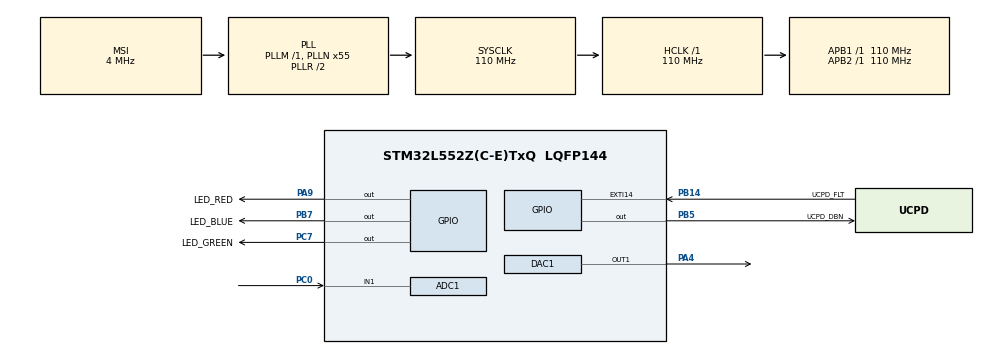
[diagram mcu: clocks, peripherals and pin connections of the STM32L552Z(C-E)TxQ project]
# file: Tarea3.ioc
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ADC1.Channel-0\#ChannelRegularConversion=ADC_CHANNEL_1
ADC1.ClockPrescaler=ADC_CLOCK_SYNC_PCLK_DIV4
ADC1.DMAContinuousRequests=ENABLE
ADC1.ExternalTrigConv=ADC_EXTERNALTRIG_T2_TRGO
ADC1.NbrOfConversion=1
ADC1.NbrOfConversionFlag=1
ADC1.OffsetNumber-0\#ChannelRegularConversion=ADC_OFFSET_NONE
ADC1.Rank-0\#ChannelRegularConversion=1
ADC1.SamplingTime-0\#ChannelRegularConversion=ADC_SAMPLETIME_2CYCLES_5
ADC1.master=1
DAC1.DAC_HighFrequency-DAC_OUT1=DAC_HIGH_FREQUENCY_INTERFACE_MODE_DISABLE
DAC1.DAC_Trigger-DAC_OUT1=DAC_TRIGGER_T6_TRGO
Dma.ADC1.0.Channel_PRIV_NPRIV=DMA_CHANNEL_NPRIV_DISABLE
Dma.ADC1.0.Direction=DMA_PERIPH_TO_MEMORY
Dma.ADC1.0.EventEnable=DISABLE
Dma.ADC1.0.Instance=DMA1_Channel1
Dma.ADC1.0.MemDataAlignment=DMA_MDATAALIGN_HALFWORD
Dma.ADC1.0.MemInc=DMA_MINC_ENABLE
Dma.ADC1.0.Mode=DMA_NORMAL
Dma.ADC1.0.PeriphDataAlignment=DMA_PDATAALIGN_HALFWORD
Dma.ADC1.0.PeriphInc=DMA_PINC_DISABLE
Dma.ADC1.0.Polarity=HAL_DMAMUX_REQ_GEN_RISING
Dma.ADC1.0.Priority=DMA_PRIORITY_HIGH
Dma.ADC1.0.RequestNumber=1
Dma.ADC1.0.SignalID=NONE
Dma.ADC1.0.SyncEnable=DISABLE
Dma.ADC1.0.SyncPolarity=HAL_DMAMUX_SYNC_NO_EVENT
Dma.ADC1.0.SyncRequestNumber=1
Dma.ADC1.0.SyncSignalID=NONE
Dma.DAC1_CH1.1.Channel_PRIV_NPRIV=DMA_CHANNEL_NPRIV_DISABLE
Dma.DAC1_CH1.1.Direction=DMA_MEMORY_TO_PERIPH
Dma.DAC1_CH1.1.EventEnable=DISABLE
Dma.DAC1_CH1.1.Instance=DMA1_Channel2
Dma.DAC1_CH1.1.MemDataAlignment=DMA_MDATAALIGN_HALFWORD
Dma.DAC1_CH1.1.MemInc=DMA_MINC_ENABLE
Dma.DAC1_CH1.1.Mode=DMA_CIRCULAR
Dma.DAC1_CH1.1.PeriphDataAlignment=DMA_PDATAALIGN_HALFWORD
Dma.DAC1_CH1.1.PeriphInc=DMA_PINC_DISABLE
Dma.DAC1_CH1.1.Polarity=HAL_DMAMUX_REQ_GEN_RISING
Dma.DAC1_CH1.1.Priority=DMA_PRIORITY_HIGH
Dma.DAC1_CH1.1.RequestNumber=1
Dma.DAC1_CH1.1.SignalID=NONE
Dma.DAC1_CH1.1.SyncEnable=DISABLE
Dma.DAC1_CH1.1.SyncPolarity=HAL_DMAMUX_SYNC_NO_EVENT
Dma.DAC1_CH1.1.SyncRequestNumber=1
Dma.DAC1_CH1.1.SyncSignalID=NONE
Dma.Request0=ADC1
Dma.Request1=DAC1_CH1
Mcu.Family=STM32L5
Mcu.Name=STM32L552Z(C-E)TxQ
Mcu.Package=LQFP144
Mcu.TrustZone=disable
NVIC.ADC1_2_IRQn=true\:0\:0\:false\:false\:true\:true\:true\:true
NVIC.DAC_IRQn=true\:0\:0\:false\:false\:true\:true\:true\:true
NVIC.DMA1_Channel1_IRQn=true\:0\:0\:false\:false\:true\:false\:true\:true
NVIC.DMA1_Channel2_IRQn=true\:0\:0\:false\:false\:true\:false\:true\:true
NVIC.PriorityGroup=NVIC_PRIORITYGROUP_3
NVIC.TIM2_IRQn=true\:0\:0\:false\:false\:true\:true\:true\:true
NVIC.TIM6_IRQn=true\:0\:0\:false\:false\:true\:true\:true\:true
PA11.Signal=USB_DM
PA13\ (JTMS/SWDIO).Signal=DEBUG_JTMS-SWDIO
PA14\ (JTCK/SWCLK).Signal=DEBUG_JTCK-SWCLK
PA15\ (JTDI).Signal=UCPD1_CC1
PA4.Signal=COMP_DAC11_group
PA9.GPIO_Label=LED_RED
PA9.Signal=GPIO_Output
PB14.GPIO_Label=UCPD_FLT
PB14.Signal=GPXTI14
PB15.Signal=UCPD1_CC2
PB3\ (JTDO/TRACESWO).Signal=DEBUG_JTDO-SWO
PB5.GPIO_Label=UCPD_DBN
PB5.Signal=GPIO_Output
PB7.GPIO_Label=LED_BLUE
PB7.Signal=GPIO_Output
PC0.Signal=ADCx_IN1
PC13.GPIO_Label=USER_BUTTON
PC13.Signal=PWR_WKUP2
PC14-OSC32_IN\ (PC14).Signal=RCC_OSC32_IN
PC15-OSC32_OUT\ (PC15).Signal=RCC_OSC32_OUT
PC2.GPIO_Label=VBUS_SENSE
PC2.Signal=ADCx_IN3
PC7.GPIO_Label=LED_GREEN
PC7.Signal=GPIO_Output
PG7.GPIO_Label=LPUART1_TX [ST-LINK_VCP_RX]
PG7.Signal=LPUART1_TX
PG8.GPIO_Label=LPUART1_RX [ST-LINK_VCP_TX]
PG8.Signal=LPUART1_RX
ProjectManager.HeapSize=0x200
ProjectManager.StackSize=0x400
ProjectManager.TargetToolchain=STM32CubeIDE
RCC.ADCCLockSelection=RCC_ADCCLKSOURCE_SYSCLK
RCC.ADCFreq_Value=110000000
RCC.AHBFreq_Value=110000000
RCC.APB1Freq_Value=110000000
RCC.APB1TimFreq_Value=110000000
RCC.APB2Freq_Value=110000000
RCC.APB2TimFreq_Value=110000000
RCC.CK48CLockSelection=RCC_USBCLKSOURCE_HSI48
RCC.CortexFreq_Value=110000000
RCC.HCLKFreq_Value=110000000
RCC.HSE_VALUE=8000000
RCC.HSI48_VALUE=48000000
RCC.HSI_VALUE=16000000
RCC.LSE_VALUE=32768
RCC.MSI_VALUE=4000000
RCC.PLLN=55
RCC.PLLSAI1N=24
RCC.RTCClockSelection=RCC_RTCCLKSOURCE_LSE
RCC.SYSCLKFreq_VALUE=110000000
RCC.SYSCLKSource=RCC_SYSCLKSOURCE_PLLCLK
RCC.USBFreq_Value=48000000
RCC.VCOOutputFreq_Value=220000000
SH.ADCx_IN1.0=ADC1_IN1,IN1-Single-Ended
SH.ADCx_IN3.0=ADC1_IN3
SH.COMP_DAC11_group.0=DAC1_OUT1,DAC_OUT1
TIM2.Period=19
TIM2.Prescaler=109
TIM2.TIM_MasterOutputTrigger=TIM_TRGO_UPDATE
TIM6.Period=19
TIM6.Prescaler=109
TIM6.TIM_MasterOutputTrigger=TIM_TRGO_UPDATE
VP_ICACHE_VS_ICACHE.Mode=DirectMappedCache
VP_PWR_VS_DBSignals.Mode=DisableDeadBatterySignals
VP_PWR_VS_SECSignals.Mode=Security/Privilege
VP_TIM2_VS_ClockSourceINT.Mode=Internal
VP_TIM6_VS_ClockSourceINT.Mode=Enable_Timer
board=NUCLEO-L552ZE-Q

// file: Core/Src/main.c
/* USER CODE BEGIN Header */
/**
  ******************************************************************************
  * @file           : main.c
  * @brief          : Main program body
  ******************************************************************************
  * @attention
  *
  * Copyright (c) 2024 STMicroelectronics.
  * All rights reserved.
  *
  * This software is licensed under terms that can be found in the LICENSE file
  * in the root directory of this software component.
  * If no LICENSE file comes with this software, it is provided AS-IS.
  *
  ******************************************************************************
  */
/* USER CODE END Header */
#include "main.h"

ADC_HandleTypeDef hadc1;
DMA_HandleTypeDef hdma_adc1;

DAC_HandleTypeDef hdac1;
DMA_HandleTypeDef hdma_dac1_ch1;

TIM_HandleTypeDef htim2;
TIM_HandleTypeDef htim6;

/* USER CODE BEGIN PV */
#define ADC_CONVERTED_DATA_BUFFER_SIZE 500 //Tamaño del buffer para el ADC
#define DIGITAL_SCALE_12BITS ((uint32_t) 0xFFF) //Para el DAC valor máximo
#define DAC_CONVERTED_DATA_BUFFER_SIZE 128 //Tamaño del buffer para el DAC
#define PI 3.14159265358979323846 //Numero PI para la senoidal
/* USER CODE END PV */

void SystemClock_Config(void);
static void MX_GPIO_Init(void);
static void MX_DMA_Init(void);
static void MX_ADC1_Init(void);
static void MX_ICACHE_Init(void);
static void MX_TIM2_Init(void);
static void MX_DAC1_Init(void);
static void MX_TIM6_Init(void);

/* USER CODE BEGIN 0 */
uint16_t aADCxConvertedData[ADC_CONVERTED_DATA_BUFFER_SIZE]; //Buffer del adc
int alternar = 0;

uint16_t Wave_LUT[DAC_CONVERTED_DATA_BUFFER_SIZE] = { //Este es un buffer de prueba para el DAC
    2048, 2149, 2250, 2350, 2450, 2549, 2646, 2742, 2837, 2929, 3020, 3108, 3193, 3275, 3355,
    3431, 3504, 3574, 3639, 3701, 3759, 3812, 3861, 3906, 3946, 3982, 4013, 4039, 4060, 4076,
    4087, 4094, 4095, 4091, 4082, 4069, 4050, 4026, 3998, 3965, 3927, 3884, 3837, 3786, 3730,
    3671, 3607, 3539, 3468, 3394, 3316, 3235, 3151, 3064, 2975, 2883, 2790, 2695, 2598, 2500,
    2400, 2300, 2199, 2098, 1997, 1896, 1795, 1695, 1595, 1497, 1400, 1305, 1212, 1120, 1031,
    944, 860, 779, 701, 627, 556, 488, 424, 365, 309, 258, 211, 168, 130, 97,
    69, 45, 26, 13, 4, 0, 1, 8, 19, 35, 56, 82, 113, 149, 189,
    234, 283, 336, 394, 456, 521, 591, 664, 740, 820, 902, 987, 1075, 1166, 1258,
    1353, 1449, 1546, 1645, 1745, 1845, 1946, 2047
};

uint16_t LUT[50]; //LookUp Table de 50 muestras para la señal de 1kHz, como timer a 50kHz para 1kHz necesita 50 muestras. Señal senoidal
uint16_t LUTC[5]; //LookUp Table de 5 muestras para la señal de 10 kHz, como timer a 50kHz para 10kHz necesita 5 muestras. Señal cuadrada
uint16_t LUT10[5]; //LookUp Table de 5 muestras para la señal de 10 kHz, como timer a 50kHz para 10kHz necesita 5 muestras. Señal senoidal

void Alternar_DAC(void); //funcion de prueba para ver como funciona el DAC
void Crear_LUTC(void); //funcion que crea la LookUp Table de la señal cuadrada
void Crear_LUT(void); //funcion que crea la LookUp Table de la señal senoidal de 1kHz
/* USER CODE END 0 */

int main(void)
{

  /* MCU Configuration--------------------------------------------------------*/

  /* Reset of all peripherals, Initializes the Flash interface and the Systick. */
  HAL_Init();

  /* Configure the system clock */
  SystemClock_Config();

  /* Initialize all configured peripherals */
  MX_GPIO_Init();
  MX_DMA_Init();
  MX_ADC1_Init();
  MX_ICACHE_Init();
  MX_TIM2_Init();
  MX_DAC1_Init();
  MX_TIM6_Init();
  /* USER CODE BEGIN 2 */
  //Alternar_DAC();
  //Crear_LUTC(); //Descomentar esta linea para usar la señal cuadrada
  Crear_LUT(); //Descomentar esta linea para usar la señal senoidal
  int j = 0;

  for(int i = 0; i < 50; i = i + 10) //Descomentar este for para crear la LUT10 para la señal senoidal de 10kHz
  {

	  LUT10[j] = LUT[i]; //Toma 5 muestras de las 50 que teniamos en la LUT de 1 kHz
	  j++;
  }

  if (HAL_TIM_Base_Start(&htim6) != HAL_OK) //Inicialización del timer6 para el DAC, configurado para que active el DAC en el flanco de bajada y a 50 kHz
     {
       /* Counter enable error */
       Error_Handler();
     }

  if (HAL_TIM_Base_Start(&htim2) != HAL_OK) //Inicializacion del timer2 para el ADC, configurado para que active el ADC en el flanco de bajada y a 50kHz
  {
    /* Counter enable error */
    Error_Handler();
  }

  if (HAL_DAC_Start_DMA(&hdac1, DAC_CHANNEL_1, (uint32_t *)LUT10, 5, DAC_ALIGN_12B_R) != HAL_OK) //Activo el DAC con DMA para el buffer correpondiente (ahora LUT10 para la señal senoidal de 10kHz, cambiar para probar otras tablas seleccionando el correcto tamaño de buffer, usar LUTC para la señal cuadrada o LUT para la senoidal de 1kHz y cambiar el tamaño de 5 a 50)
   	     {
   	       /* Start Error */
   	       Error_Handler();
   	     }

  if (HAL_ADC_Start_DMA(&hadc1, //Activo el ADC que metera los datos convertidos en el buffer correspondiente.
                          (uint32_t *)aADCxConvertedData,
                          ADC_CONVERTED_DATA_BUFFER_SIZE
                         ) != HAL_OK)
    {
      /* ADC conversion start error */
      Error_Handler();
    }

    /* Enable DAC Channel: channel corresponding to ADC channel ADC_CHANNEL_9 */

  /* USER CODE END 2 */

  /* Infinite loop */
  while (1)
  {

    /* USER CODE BEGIN 3 */

	  HAL_Delay(1000);

  }
  /* USER CODE END 3 */
}

void SystemClock_Config(void)
{
  RCC_OscInitTypeDef RCC_OscInitStruct = {0};
  RCC_ClkInitTypeDef RCC_ClkInitStruct = {0};

  /** Configure the main internal regulator output voltage
  */
  if (HAL_PWREx_ControlVoltageScaling(PWR_REGULATOR_VOLTAGE_SCALE0) != HAL_OK)
  {
    Error_Handler();
  }

  /** Initializes the RCC Oscillators according to the specified parameters
  * in the RCC_OscInitTypeDef structure.
  */
  RCC_OscInitStruct.OscillatorType = RCC_OSCILLATORTYPE_MSI;
  RCC_OscInitStruct.MSIState = RCC_MSI_ON;
  RCC_OscInitStruct.MSICalibrationValue = RCC_MSICALIBRATION_DEFAULT;
  RCC_OscInitStruct.MSIClockRange = RCC_MSIRANGE_6;
  RCC_OscInitStruct.PLL.PLLState = RCC_PLL_ON;
  RCC_OscInitStruct.PLL.PLLSource = RCC_PLLSOURCE_MSI;
  RCC_OscInitStruct.PLL.PLLM = 1;
  RCC_OscInitStruct.PLL.PLLN = 55;
  RCC_OscInitStruct.PLL.PLLP = RCC_PLLP_DIV7;
  RCC_OscInitStruct.PLL.PLLQ = RCC_PLLQ_DIV2;
  RCC_OscInitStruct.PLL.PLLR = RCC_PLLR_DIV2;
  if (HAL_RCC_OscConfig(&RCC_OscInitStruct) != HAL_OK)
  {
    Error_Handler();
  }

  /** Initializes the CPU, AHB and APB buses clocks
  */
  RCC_ClkInitStruct.ClockType = RCC_CLOCKTYPE_HCLK|RCC_CLOCKTYPE_SYSCLK
                              |RCC_CLOCKTYPE_PCLK1|RCC_CLOCKTYPE_PCLK2;
  RCC_ClkInitStruct.SYSCLKSource = RCC_SYSCLKSOURCE_PLLCLK;
  RCC_ClkInitStruct.AHBCLKDivider = RCC_SYSCLK_DIV1;
  RCC_ClkInitStruct.APB1CLKDivider = RCC_HCLK_DIV1;
  RCC_ClkInitStruct.APB2CLKDivider = RCC_HCLK_DIV1;

  if (HAL_RCC_ClockConfig(&RCC_ClkInitStruct, FLASH_LATENCY_5) != HAL_OK)
  {
    Error_Handler();
  }
}

static void MX_ADC1_Init(void)
{

  ADC_MultiModeTypeDef multimode = {0};
  ADC_ChannelConfTypeDef sConfig = {0};

  /** Common config
  */
  hadc1.Instance = ADC1;
  hadc1.Init.ClockPrescaler = ADC_CLOCK_SYNC_PCLK_DIV4;
  hadc1.Init.Resolution = ADC_RESOLUTION_12B;
  hadc1.Init.DataAlign = ADC_DATAALIGN_RIGHT;
  hadc1.Init.ScanConvMode = ADC_SCAN_DISABLE;
  hadc1.Init.EOCSelection = ADC_EOC_SINGLE_CONV;
  hadc1.Init.LowPowerAutoWait = DISABLE;
  hadc1.Init.ContinuousConvMode = DISABLE;
  hadc1.Init.NbrOfConversion = 1;
  hadc1.Init.DiscontinuousConvMode = DISABLE;
  hadc1.Init.ExternalTrigConv = ADC_EXTERNALTRIG_T2_TRGO;
  hadc1.Init.ExternalTrigConvEdge = ADC_EXTERNALTRIGCONVEDGE_RISING;
  hadc1.Init.DMAContinuousRequests = ENABLE;
  hadc1.Init.Overrun = ADC_OVR_DATA_PRESERVED;
  hadc1.Init.OversamplingMode = DISABLE;
  if (HAL_ADC_Init(&hadc1) != HAL_OK)
  {
    Error_Handler();
  }

  /** Configure the ADC multi-mode
  */
  multimode.Mode = ADC_MODE_INDEPENDENT;
  if (HAL_ADCEx_MultiModeConfigChannel(&hadc1, &multimode) != HAL_OK)
  {
    Error_Handler();
  }

  /** Configure Regular Channel
  */
  sConfig.Channel = ADC_CHANNEL_1;
  sConfig.Rank = ADC_REGULAR_RANK_1;
  sConfig.SamplingTime = ADC_SAMPLETIME_2CYCLES_5;
  sConfig.SingleDiff = ADC_SINGLE_ENDED;
  sConfig.OffsetNumber = ADC_OFFSET_NONE;
  sConfig.Offset = 0;
  if (HAL_ADC_ConfigChannel(&hadc1, &sConfig) != HAL_OK)
  {
    Error_Handler();
  }

}

static void MX_DAC1_Init(void)
{

  DAC_ChannelConfTypeDef sConfig = {0};

  /** DAC Initialization
  */
  hdac1.Instance = DAC1;
  if (HAL_DAC_Init(&hdac1) != HAL_OK)
  {
    Error_Handler();
  }

  /** DAC channel OUT1 config
  */
  sConfig.DAC_SampleAndHold = DAC_SAMPLEANDHOLD_DISABLE;
  sConfig.DAC_Trigger = DAC_TRIGGER_T6_TRGO;
  sConfig.DAC_HighFrequency = DAC_HIGH_FREQUENCY_INTERFACE_MODE_DISABLE;
  sConfig.DAC_OutputBuffer = DAC_OUTPUTBUFFER_ENABLE;
  sConfig.DAC_ConnectOnChipPeripheral = DAC_CHIPCONNECT_DISABLE;
  sConfig.DAC_UserTrimming = DAC_TRIMMING_FACTORY;
  if (HAL_DAC_ConfigChannel(&hdac1, &sConfig, DAC_CHANNEL_1) != HAL_OK)
  {
    Error_Handler();
  }

}

static void MX_ICACHE_Init(void)
{

  /** Enable instruction cache in 1-way (direct mapped cache)
  */
  if (HAL_ICACHE_ConfigAssociativityMode(ICACHE_1WAY) != HAL_OK)
  {
    Error_Handler();
  }
  if (HAL_ICACHE_Enable() != HAL_OK)
  {
    Error_Handler();
  }

}

static void MX_TIM2_Init(void)
{

  TIM_ClockConfigTypeDef sClockSourceConfig = {0};
  TIM_MasterConfigTypeDef sMasterConfig = {0};

  htim2.Instance = TIM2;
  htim2.Init.Prescaler = 109;
  htim2.Init.CounterMode = TIM_COUNTERMODE_UP;
  htim2.Init.Period = 19;
  htim2.Init.ClockDivision = TIM_CLOCKDIVISION_DIV1;
  htim2.Init.AutoReloadPreload = TIM_AUTORELOAD_PRELOAD_DISABLE;
  if (HAL_TIM_Base_Init(&htim2) != HAL_OK)
  {
    Error_Handler();
  }
  sClockSourceConfig.ClockSource = TIM_CLOCKSOURCE_INTERNAL;
  if (HAL_TIM_ConfigClockSource(&htim2, &sClockSourceConfig) != HAL_OK)
  {
    Error_Handler();
  }
  sMasterConfig.MasterOutputTrigger = TIM_TRGO_UPDATE;
  sMasterConfig.MasterSlaveMode = TIM_MASTERSLAVEMODE_DISABLE;
  if (HAL_TIMEx_MasterConfigSynchronization(&htim2, &sMasterConfig) != HAL_OK)
  {
    Error_Handler();
  }

}

static void MX_TIM6_Init(void)
{

  TIM_MasterConfigTypeDef sMasterConfig = {0};

  htim6.Instance = TIM6;
  htim6.Init.Prescaler = 109;
  htim6.Init.CounterMode = TIM_COUNTERMODE_UP;
  htim6.Init.Period = 19;
  htim6.Init.AutoReloadPreload = TIM_AUTORELOAD_PRELOAD_DISABLE;
  if (HAL_TIM_Base_Init(&htim6) != HAL_OK)
  {
    Error_Handler();
  }
  sMasterConfig.MasterOutputTrigger = TIM_TRGO_UPDATE;
  sMasterConfig.MasterSlaveMode = TIM_MASTERSLAVEMODE_DISABLE;
  if (HAL_TIMEx_MasterConfigSynchronization(&htim6, &sMasterConfig) != HAL_OK)
  {
    Error_Handler();
  }

}

static void MX_DMA_Init(void)
{

  /* DMA controller clock enable */
  __HAL_RCC_DMAMUX1_CLK_ENABLE();
  __HAL_RCC_DMA1_CLK_ENABLE();

  /* DMA interrupt init */
  /* DMA1_Channel1_IRQn interrupt configuration */
  HAL_NVIC_SetPriority(DMA1_Channel1_IRQn, 0, 0);
  HAL_NVIC_EnableIRQ(DMA1_Channel1_IRQn);
  /* DMA1_Channel2_IRQn interrupt configuration */
  HAL_NVIC_SetPriority(DMA1_Channel2_IRQn, 0, 0);
  HAL_NVIC_EnableIRQ(DMA1_Channel2_IRQn);

}

static void MX_GPIO_Init(void)
{
  GPIO_InitTypeDef GPIO_InitStruct = {0};

  /* GPIO Ports Clock Enable */
  __HAL_RCC_GPIOC_CLK_ENABLE();
  __HAL_RCC_GPIOA_CLK_ENABLE();
  __HAL_RCC_GPIOB_CLK_ENABLE();
  __HAL_RCC_GPIOG_CLK_ENABLE();
  HAL_PWREx_EnableVddIO2();

  /*Configure GPIO pin Output Level */
  HAL_GPIO_WritePin(LED_GREEN_GPIO_Port, LED_GREEN_Pin, GPIO_PIN_RESET);

  /*Configure GPIO pin Output Level */
  HAL_GPIO_WritePin(LED_RED_GPIO_Port, LED_RED_Pin, GPIO_PIN_RESET);

  /*Configure GPIO pin Output Level */
  HAL_GPIO_WritePin(GPIOB, UCPD_DBN_Pin|LED_BLUE_Pin, GPIO_PIN_RESET);

  /*Configure GPIO pin : UCPD_FLT_Pin */
  GPIO_InitStruct.Pin = UCPD_FLT_Pin;
  GPIO_InitStruct.Mode = GPIO_MODE_IT_RISING;
  GPIO_InitStruct.Pull = GPIO_NOPULL;
  HAL_GPIO_Init(UCPD_FLT_GPIO_Port, &GPIO_InitStruct);

  /*Configure GPIO pin : PB15 */
  GPIO_InitStruct.Pin = GPIO_PIN_15;
  GPIO_InitStruct.Mode = GPIO_MODE_ANALOG;
  GPIO_InitStruct.Pull = GPIO_NOPULL;
  HAL_GPIO_Init(GPIOB, &GPIO_InitStruct);

  /*Configure GPIO pins : LPUART1_TX_Pin LPUART1_RX_Pin */
  GPIO_InitStruct.Pin = LPUART1_TX_Pin|LPUART1_RX_Pin;
  GPIO_InitStruct.Mode = GPIO_MODE_AF_PP;
  GPIO_InitStruct.Pull = GPIO_NOPULL;
  GPIO_InitStruct.Speed = GPIO_SPEED_FREQ_LOW;
  GPIO_InitStruct.Alternate = GPIO_AF8_LPUART1;
  HAL_GPIO_Init(GPIOG, &GPIO_InitStruct);

  /*Configure GPIO pin : LED_GREEN_Pin */
  GPIO_InitStruct.Pin = LED_GREEN_Pin;
  GPIO_InitStruct.Mode = GPIO_MODE_OUTPUT_PP;
  GPIO_InitStruct.Pull = GPIO_NOPULL;
  GPIO_InitStruct.Speed = GPIO_SPEED_FREQ_LOW;
  HAL_GPIO_Init(LED_GREEN_GPIO_Port, &GPIO_InitStruct);

  /*Configure GPIO pin : LED_RED_Pin */
  GPIO_InitStruct.Pin = LED_RED_Pin;
  GPIO_InitStruct.Mode = GPIO_MODE_OUTPUT_PP;
  GPIO_InitStruct.Pull = GPIO_NOPULL;
  GPIO_InitStruct.Speed = GPIO_SPEED_FREQ_LOW;
  HAL_GPIO_Init(LED_RED_GPIO_Port, &GPIO_InitStruct);

  /*Configure GPIO pin : PA11 */
  GPIO_InitStruct.Pin = GPIO_PIN_11;
  GPIO_InitStruct.Mode = GPIO_MODE_AF_PP;
  GPIO_InitStruct.Pull = GPIO_NOPULL;
  GPIO_InitStruct.Speed = GPIO_SPEED_FREQ_LOW;
  GPIO_InitStruct.Alternate = GPIO_AF10_USB;
  HAL_GPIO_Init(GPIOA, &GPIO_InitStruct);

  /*Configure GPIO pin : PA15 */
  GPIO_InitStruct.Pin = GPIO_PIN_15;
  GPIO_InitStruct.Mode = GPIO_MODE_ANALOG;
  GPIO_InitStruct.Pull = GPIO_NOPULL;
  HAL_GPIO_Init(GPIOA, &GPIO_InitStruct);

  /*Configure GPIO pins : UCPD_DBN_Pin LED_BLUE_Pin */
  GPIO_InitStruct.Pin = UCPD_DBN_Pin|LED_BLUE_Pin;
  GPIO_InitStruct.Mode = GPIO_MODE_OUTPUT_PP;
  GPIO_InitStruct.Pull = GPIO_NOPULL;
  GPIO_InitStruct.Speed = GPIO_SPEED_FREQ_LOW;
  HAL_GPIO_Init(GPIOB, &GPIO_InitStruct);

}

/* USER CODE BEGIN 4 */
void Alternar_DAC(void)
{
	for(int i = 0; i < 128; i++){
		Wave_LUT[i] = DIGITAL_SCALE_12BITS; //Pongo todo el Wave_LUT al maximo que soporta el DAC para probar que toma el máximo valor
	}

}

void Crear_LUTC(void)
{
	for(int i = 0; i < 5; i++) //For de 5 muestras para generar la señal cuadrada de 10kHz para un timer de 50kHz
	{
		if(i < 2){
			LUTC[i] = 0; //0 voltios en el DAC
		}
		else {
			LUTC[i] = 1830; //2 voltios en el DAC aprox.
		}

	}
}

void Crear_LUT(void)
{
	for(int i = 0; i < 50; i++) //Crea la LUT de 1 kHz, luego se utiliza para crear la de 10kHz en el main
	{
		LUT[i] = 950 + (int)(950 * sin(2 * PI * i / 50)); //Funcion senoidal con offset en 1 voltio y que va de 0 a 2 voltios aprox.
	}
}
/* USER CODE END 4 */

void Error_Handler(void)
{
  __disable_irq();
  while (1)
  {
  }
}
